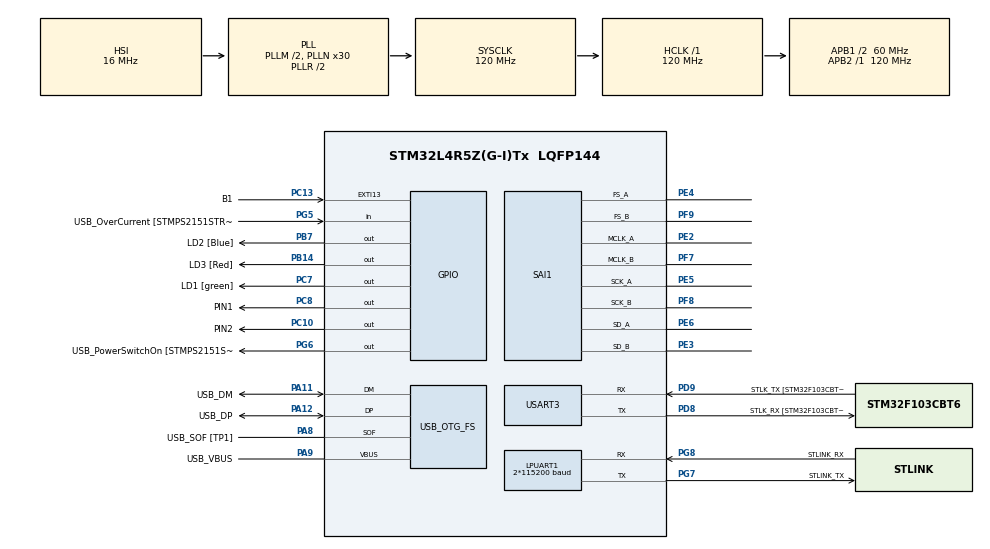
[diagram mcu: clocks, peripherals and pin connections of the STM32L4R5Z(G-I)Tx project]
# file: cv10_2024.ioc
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Dma.LPUART1_RX.0.Direction=DMA_PERIPH_TO_MEMORY
Dma.LPUART1_RX.0.EventEnable=DISABLE
Dma.LPUART1_RX.0.Instance=DMA2_Channel1
Dma.LPUART1_RX.0.MemDataAlignment=DMA_MDATAALIGN_BYTE
Dma.LPUART1_RX.0.MemInc=DMA_MINC_ENABLE
Dma.LPUART1_RX.0.Mode=DMA_NORMAL
Dma.LPUART1_RX.0.PeriphDataAlignment=DMA_PDATAALIGN_BYTE
Dma.LPUART1_RX.0.PeriphInc=DMA_PINC_DISABLE
Dma.LPUART1_RX.0.Polarity=HAL_DMAMUX_REQUEST_GEN_RISING
Dma.LPUART1_RX.0.Priority=DMA_PRIORITY_LOW
Dma.LPUART1_RX.0.RequestNumber=1
Dma.LPUART1_RX.0.SignalID=NONE
Dma.LPUART1_RX.0.SyncEnable=DISABLE
Dma.LPUART1_RX.0.SyncPolarity=HAL_DMAMUX_SYNC_NO_EVENT
Dma.LPUART1_RX.0.SyncRequestNumber=1
Dma.LPUART1_RX.0.SyncSignalID=NONE
Dma.LPUART1_TX.1.Direction=DMA_MEMORY_TO_PERIPH
Dma.LPUART1_TX.1.EventEnable=DISABLE
Dma.LPUART1_TX.1.Instance=DMA2_Channel2
Dma.LPUART1_TX.1.MemDataAlignment=DMA_MDATAALIGN_BYTE
Dma.LPUART1_TX.1.MemInc=DMA_MINC_ENABLE
Dma.LPUART1_TX.1.Mode=DMA_NORMAL
Dma.LPUART1_TX.1.PeriphDataAlignment=DMA_PDATAALIGN_BYTE
Dma.LPUART1_TX.1.PeriphInc=DMA_PINC_DISABLE
Dma.LPUART1_TX.1.Polarity=HAL_DMAMUX_REQUEST_GEN_RISING
Dma.LPUART1_TX.1.Priority=DMA_PRIORITY_LOW
Dma.LPUART1_TX.1.RequestNumber=1
Dma.LPUART1_TX.1.SignalID=NONE
Dma.LPUART1_TX.1.SyncEnable=DISABLE
Dma.LPUART1_TX.1.SyncPolarity=HAL_DMAMUX_SYNC_NO_EVENT
Dma.LPUART1_TX.1.SyncRequestNumber=1
Dma.LPUART1_TX.1.SyncSignalID=NONE
Dma.MEMTOMEM.2.Direction=DMA_MEMORY_TO_MEMORY
Dma.MEMTOMEM.2.EventEnable=DISABLE
Dma.MEMTOMEM.2.Instance=DMA1_Channel1
Dma.MEMTOMEM.2.MemDataAlignment=DMA_MDATAALIGN_WORD
Dma.MEMTOMEM.2.MemInc=DMA_MINC_ENABLE
Dma.MEMTOMEM.2.Mode=DMA_NORMAL
Dma.MEMTOMEM.2.PeriphDataAlignment=DMA_PDATAALIGN_WORD
Dma.MEMTOMEM.2.PeriphInc=DMA_PINC_ENABLE
Dma.MEMTOMEM.2.Polarity=HAL_DMAMUX_REQUEST_GEN_RISING
Dma.MEMTOMEM.2.Priority=DMA_PRIORITY_LOW
Dma.MEMTOMEM.2.RequestNumber=1
Dma.MEMTOMEM.2.SignalID=NONE
Dma.MEMTOMEM.2.SyncEnable=DISABLE
Dma.MEMTOMEM.2.SyncPolarity=HAL_DMAMUX_SYNC_NO_EVENT
Dma.MEMTOMEM.2.SyncRequestNumber=1
Dma.MEMTOMEM.2.SyncSignalID=NONE
Dma.Request0=LPUART1_RX
Dma.Request1=LPUART1_TX
Dma.Request2=MEMTOMEM
Dma.Request3=SAI1_A
Dma.Request4=SAI1_B
Dma.SAI1_A.3.Direction=DMA_MEMORY_TO_PERIPH
Dma.SAI1_A.3.EventEnable=DISABLE
Dma.SAI1_A.3.Instance=DMA1_Channel3
Dma.SAI1_A.3.MemDataAlignment=DMA_MDATAALIGN_WORD
Dma.SAI1_A.3.MemInc=DMA_MINC_ENABLE
Dma.SAI1_A.3.Mode=DMA_CIRCULAR
Dma.SAI1_A.3.PeriphDataAlignment=DMA_PDATAALIGN_WORD
Dma.SAI1_A.3.PeriphInc=DMA_PINC_DISABLE
Dma.SAI1_A.3.Polarity=HAL_DMAMUX_REQUEST_GEN_RISING
Dma.SAI1_A.3.Priority=DMA_PRIORITY_HIGH
Dma.SAI1_A.3.RequestNumber=1
Dma.SAI1_A.3.SignalID=NONE
Dma.SAI1_A.3.SyncEnable=DISABLE
Dma.SAI1_A.3.SyncPolarity=HAL_DMAMUX_SYNC_NO_EVENT
Dma.SAI1_A.3.SyncRequestNumber=1
Dma.SAI1_A.3.SyncSignalID=NONE
Dma.SAI1_B.4.Direction=DMA_PERIPH_TO_MEMORY
Dma.SAI1_B.4.EventEnable=DISABLE
Dma.SAI1_B.4.Instance=DMA1_Channel4
Dma.SAI1_B.4.MemDataAlignment=DMA_MDATAALIGN_WORD
Dma.SAI1_B.4.MemInc=DMA_MINC_ENABLE
Dma.SAI1_B.4.Mode=DMA_CIRCULAR
Dma.SAI1_B.4.PeriphDataAlignment=DMA_PDATAALIGN_WORD
Dma.SAI1_B.4.PeriphInc=DMA_PINC_DISABLE
Dma.SAI1_B.4.Polarity=HAL_DMAMUX_REQUEST_GEN_RISING
Dma.SAI1_B.4.Priority=DMA_PRIORITY_HIGH
Dma.SAI1_B.4.RequestNumber=1
Dma.SAI1_B.4.SignalID=NONE
Dma.SAI1_B.4.SyncEnable=DISABLE
Dma.SAI1_B.4.SyncPolarity=HAL_DMAMUX_SYNC_NO_EVENT
Dma.SAI1_B.4.SyncRequestNumber=1
Dma.SAI1_B.4.SyncSignalID=NONE
LPUART1.BaudRate=2*115200
LPUART1.WordLength=UART_WORDLENGTH_8B
Mcu.Family=STM32L4
Mcu.Name=STM32L4R5Z(G-I)Tx
Mcu.Package=LQFP144
NVIC.DMA1_Channel1_IRQn=true\:0\:0\:false\:false\:true\:false\:true\:true
NVIC.DMA1_Channel3_IRQn=true\:0\:0\:false\:false\:true\:false\:true\:true
NVIC.DMA1_Channel4_IRQn=true\:0\:0\:false\:false\:true\:false\:true\:true
NVIC.DMA2_Channel1_IRQn=true\:0\:0\:false\:false\:true\:true\:true\:true
NVIC.DMA2_Channel2_IRQn=true\:0\:0\:false\:false\:true\:false\:true\:true
NVIC.EXTI15_10_IRQn=true\:0\:0\:false\:false\:true\:true\:true\:true
NVIC.LPUART1_IRQn=true\:0\:0\:false\:false\:true\:true\:true\:true
NVIC.PriorityGroup=NVIC_PRIORITYGROUP_4
NVIC.SAI1_IRQn=true\:0\:0\:false\:false\:true\:true\:true\:true
NVIC.TIM6_DAC_IRQn=true\:0\:0\:false\:false\:true\:true\:true\:true
PA10.GPIO_Label=USB_ID
PA10.Signal=USB_OTG_FS_ID
PA11.GPIO_Label=USB_DM
PA11.Mode=Device_Only
PA11.Signal=USB_OTG_FS_DM
PA12.GPIO_Label=USB_DP
PA12.Mode=Device_Only
PA12.Signal=USB_OTG_FS_DP
PA13\ (JTMS/SWDIO).GPIO_Label=TMS
PA13\ (JTMS/SWDIO).Mode=Trace_Asynchronous_SW
PA13\ (JTMS/SWDIO).Signal=SYS_JTMS-SWDIO
PA14\ (JTCK/SWCLK).GPIO_Label=TCK
PA14\ (JTCK/SWCLK).Mode=Trace_Asynchronous_SW
PA14\ (JTCK/SWCLK).Signal=SYS_JTCK-SWCLK
PA8.GPIO_Label=USB_SOF [TP1]
PA8.Mode=Activate_SOF_FS
PA8.Signal=USB_OTG_FS_SOF
PA9.GPIO_Label=USB_VBUS
PA9.Mode=Activate_VBUS
PA9.Signal=USB_OTG_FS_VBUS
PB14.GPIO_Label=LD3 [Red]
PB14.Signal=GPIO_Output
PB3\ (JTDO/TRACESWO).GPIO_Label=SWO
PB3\ (JTDO/TRACESWO).Mode=Trace_Asynchronous_SW
PB3\ (JTDO/TRACESWO).Signal=SYS_JTDO-SWO
PB7.GPIO_Label=LD2 [Blue]
PB7.Signal=GPIO_Output
PC10.GPIO_Label=PIN2
PC10.Signal=GPIO_Output
PC13.GPIO_Label=B1
PC13.GPIO_ModeDefaultEXTI=GPIO_MODE_IT_RISING_FALLING
PC13.Signal=GPXTI13
PC14-OSC32_IN\ (PC14).Mode=LSE-External-Oscillator
PC14-OSC32_IN\ (PC14).Signal=RCC_OSC32_IN
PC15-OSC32_OUT\ (PC15).Mode=LSE-External-Oscillator
PC15-OSC32_OUT\ (PC15).Signal=RCC_OSC32_OUT
PC7.GPIO_Label=LD1 [green]
PC7.Signal=GPIO_Output
PC8.GPIO_Label=PIN1
PC8.Signal=GPIO_Output
PD8.GPIO_Label=STLK_RX [STM32F103CBT6_PA3]
PD8.Mode=Asynchronous
PD8.Signal=USART3_TX
PD9.GPIO_Label=STLK_TX [STM32F103CBT6_PA2]
PD9.Mode=Asynchronous
PD9.Signal=USART3_RX
PE2.Mode=SAI_A_MasterWithClock
PE2.Signal=SAI1_MCLK_A
PE3.Mode=SAI_B_MasterWithClock
PE3.Signal=SAI1_SD_B
PE4.Mode=SAI_A_MasterWithClock
PE4.Signal=SAI1_FS_A
PE5.Mode=SAI_A_MasterWithClock
PE5.Signal=SAI1_SCK_A
PE6.Mode=SAI_A_MasterWithClock
PE6.Signal=SAI1_SD_A
PF7.Mode=SAI_B_MasterWithClock
PF7.Signal=SAI1_MCLK_B
PF8.Mode=SAI_B_MasterWithClock
PF8.Signal=SAI1_SCK_B
PF9.Mode=SAI_B_MasterWithClock
PF9.Signal=SAI1_FS_B
PG5.GPIO_Label=USB_OverCurrent [STMPS2151STR_FAULT]
PG5.Signal=GPIO_Input
PG6.GPIO_Label=USB_PowerSwitchOn [STMPS2151STR_EN]
PG6.Signal=GPIO_Output
PG7.GPIO_Label=STLINK_TX
PG7.Mode=Asynchronous
PG7.Signal=LPUART1_TX
PG8.GPIO_Label=STLINK_RX
PG8.Mode=Asynchronous
PG8.Signal=LPUART1_RX
PH0-OSC_IN\ (PH0).Signal=RCC_OSC_IN
PH1-OSC_OUT\ (PH1).Signal=RCC_OSC_OUT
ProjectManager.HeapSize=0x200
ProjectManager.StackSize=0x400
ProjectManager.TargetToolchain=STM32CubeIDE
RCC.48MHZClocksFreq_Value=24000000
RCC.ADCFreq_Value=153600000
RCC.AHBFreq_Value=120000000
RCC.APB1CLKDivider=RCC_HCLK_DIV2
RCC.APB1Freq_Value=60000000
RCC.APB1TimFreq_Value=120000000
RCC.APB2Freq_Value=120000000
RCC.APB2TimFreq_Value=120000000
RCC.CK48CLockSelection=RCC_USBCLKSOURCE_HSI48
RCC.CortexFreq_Value=120000000
RCC.HCLKFreq_Value=120000000
RCC.HSE_VALUE=8000000
RCC.HSI48_VALUE=48000000
RCC.HSI_VALUE=16000000
RCC.MSI_VALUE=4000000
RCC.PLLM1=2
RCC.PLLM2=5
RCC.PLLMUL=RCC_PLL_MUL9
RCC.PLLN=30
RCC.PLLSAI1N=96
RCC.PLLSAI1P=RCC_PLLP_DIV25
RCC.PLLSourceVirtual=RCC_PLLSOURCE_HSI
RCC.PRESCALERUSB=RCC_USBCLKSOURCE_PLL_DIV1_5
RCC.SYSCLKFreq_VALUE=120000000
RCC.SYSCLKSource=RCC_SYSCLKSOURCE_PLLCLK
RCC.SYSCLKSourceVirtual=RCC_SYSCLKSOURCE_PLLCLK
RCC.USBFreq_Value=48000000
RCC.VCOOutputFreq_Value=240000000
SAI1.AudioFrequency-SAI_A_MasterWithClock=SAI_AUDIO_FREQUENCY_48K
SAI1.AudioFrequency-SAI_B_MasterWithClock=SAI_AUDIO_FREQUENCY_48K
SAI1.AudioMode-SAI_B_MasterWithClock=SAI_MODEMASTER_RX
SAI1.BasicDataSize-SAI_A_MasterWithClock=SAI_PROTOCOL_DATASIZE_24BIT
SAI1.BasicDataSize-SAI_B_MasterWithClock=SAI_PROTOCOL_DATASIZE_24BIT
SAI1.ErrorAudioFreq-SAI_A_MasterWithClock=0.0 %
SAI1.ErrorAudioFreq-SAI_B_MasterWithClock=0.0 %
SAI1.InitProtocol-SAI_A_MasterWithClock=Enable
SAI1.InitProtocol-SAI_B_MasterWithClock=Enable
SAI1.Instance-SAI_A_MasterWithClock=SAI$Index_Block_A
SAI1.Instance-SAI_B_MasterWithClock=SAI$Index_Block_B
SAI1.MClockEnable-SAI_A_MasterWithClock=SAI_MASTERCLOCK_ENABLE
SAI1.MClockEnable-SAI_B_MasterWithClock=SAI_MASTERCLOCK_ENABLE
SAI1.RealAudioFreq-SAI_A_MasterWithClock=48.0 KHz
SAI1.RealAudioFreq-SAI_B_MasterWithClock=48.0 KHz
SAI1.VirtualMode-SAI_A_MasterWithClock=VM_MASTER
SAI1.VirtualMode-SAI_B_MasterWithClock=VM_MASTER
SAI1.VirtualProtocol-SAI_A_BASIC=VM_BASIC_PROTOCOL
SAI1.VirtualProtocol-SAI_B_BASIC=VM_BASIC_PROTOCOL
STMicroelectronics.X-CUBE-ALGOBUILD.1.4.0.LibraryCcDSPOoLibraryJjDSPOoLibrary=true
TIM6.Period=12000
TIM6.Prescaler=1000
USART3.VirtualMode-Asynchronous=VM_ASYNC
USB_OTG_FS.VirtualMode=Device_Only
VP_SAI1_VP_$IpInstance_SAIA_SAI_BASIC.Mode=SAI_A_BASIC
VP_SAI1_VP_$IpInstance_SAIB_SAI_BASIC.Mode=SAI_B_BASIC
VP_STMicroelectronics.X-CUBE-ALGOBUILD_VS_DSPOoLibraryJjLibrary_1.4.0_1.4.0.Mode=DSPOoLibraryJjLibrary
VP_TIM5_VS_ClockSourceINT.Mode=Internal
VP_TIM6_VS_ClockSourceINT.Mode=Enable_Timer
board=NUCLEO-L4R5ZI

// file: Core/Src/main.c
/* USER CODE BEGIN Header */
/**
  ******************************************************************************
  * @file           : main.c
  * @brief          : Main program body
  ******************************************************************************
  * @attention
  *
  * Copyright (c) 2024 STMicroelectronics.
  * All rights reserved.
  *
  * This software is licensed under terms that can be found in the LICENSE file
  * in the root directory of this software component.
  * If no LICENSE file comes with this software, it is provided AS-IS.
  *
  ******************************************************************************
  */
/* USER CODE END Header */
#include "main.h"

/* USER CODE BEGIN Includes */
#include "math.h"
#include "arm_math.h"

#include <string.h>
#include "TimeStamp.h"
/* USER CODE END Includes */

UART_HandleTypeDef hlpuart1;
UART_HandleTypeDef huart3;
DMA_HandleTypeDef hdma_lpuart1_rx;
DMA_HandleTypeDef hdma_lpuart1_tx;

SAI_HandleTypeDef hsai_BlockA1;
SAI_HandleTypeDef hsai_BlockB1;
DMA_HandleTypeDef hdma_sai1_a;
DMA_HandleTypeDef hdma_sai1_b;

TIM_HandleTypeDef htim5;
TIM_HandleTypeDef htim6;

PCD_HandleTypeDef hpcd_USB_OTG_FS;

DMA_HandleTypeDef hdma_memtomem_dma1_channel1;
/* USER CODE BEGIN PV */
#define BLOCK_SIZE_MAX1 4800
/* USER CODE END PV */

void SystemClock_Config(void);
void PeriphCommonClock_Config(void);
static void MX_GPIO_Init(void);
static void MX_DMA_Init(void);
static void MX_LPUART1_UART_Init(void);
static void MX_USART3_UART_Init(void);
static void MX_USB_OTG_FS_PCD_Init(void);
static void MX_TIM6_Init(void);
static void MX_TIM5_Init(void);
static void MX_SAI1_Init(void);
/* USER CODE BEGIN PFP */
#include "DSP_SAI_config.h"
#include "MATLAB_2_STM32.h"

/* USER CODE END PFP */

/* USER CODE BEGIN 0 */
static float x3[1000];

void DataReceive_MTLB_Callback(uint16_t iD, uint32_t * xData, uint16_t nData_in_values)
{//kdyz prijdou data z matlabu, tak se toto zavola a zde je vetveni a zpracovani
	uint32_t x_time;
	switch(iD)
	{
	case 40001://get temperature
//		DataTransmit2MTLB(40001,(uint8_t *) &teplota[nTeplota], 1);
		break;
	case 40002:
	//	DataTransmit2MTLB(40002,(uint8_t *) teplota, 61);
		break;
	case 35000:

		TimeStamp_SET_char('X');

		for(int i=0; i<1000; i++)
		{
			x3[i]=arm_sin_f32(2*PI*1000*i/48000);//1544us (mikro sekund) - off SAI; 5200us on SAI

			//x3[i]=sin(2*PI*1000*i/48000);// 29933 us - vypnuty SAI
		}
		TimeStamp_SET_char('Y');

		x_time = FindTimeStamp('Y') - FindTimeStamp('X');

		DataTransmit2MTLB(35000, (uint8_t *)x3, 1000);

		//
		uint32_t timeout = 10000;
				while(s2m_Status && timeout > 0)
				{
		            timeout--;
				}

		        if(timeout > 0) {
				    DataTransmit2MTLB(15000,(uint8_t *) &x_time, 1);
		        }
		break;
	case 35008: //FIR Init
		HAL_SAI_DMAStop(&hsai_BlockA1);
		HAL_SAI_DMAStop(&hsai_BlockB1);
		Status_Proces_Type_L=0;
//
		memcpy(B1, xData, nData_in_values*4);
		arm_fir_init_f32(&S_L_FIR, nData_in_values,B1, pState_FIR_L, BlockSize);
//
		TimeStamp_SET_char('X');
		arm_fir_f32(&S_L_FIR, sample_L, sample_L1, BlockSize);
		TimeStamp_SET_char('Y');
//
		x_time = FindTimeStamp('Y') - FindTimeStamp('X');
		DataTransmit2MTLB(15000,(uint8_t *) &x_time, 1);
//
		HAL_SAI_Transmit_DMA(&hsai_BlockA1,(uint8_t *) buf_SAI_TX, 4*BlockSize);//Size is n samples (Data wdth is word (4 bytes - 32 bits))
		HAL_SAI_Receive_DMA(&hsai_BlockB1,(uint8_t *) buf_SAI_RX, 4*BlockSize); //this is master - start first
		break;
	case 35009: //IIR init
		HAL_SAI_DMAStop(&hsai_BlockA1);
		HAL_SAI_DMAStop(&hsai_BlockB1);
		Status_Proces_Type_L=1;
		//
				//arm_fir_init_f32(&S_L_FIR, nData_in_values,(float32_t *) xData, pState_FIR_L, BlockSize);
		//
				memcpy(IIR_coef_L, xData, nData_in_values * 4);
				arm_biquad_cascade_df1_init_f32(&S_L_IIR, nData_in_values/5, (float32_t *) xData, pState_IIR_L );

				TimeStamp_SET_char('X');
				//arm_fir_f32(&S_L_FIR, sample_L, sample_L1, BlockSize);
				arm_biquad_cascade_df1_f32(&S_L_IIR, sample_L, sample_L1, BlockSize);
				TimeStamp_SET_char('Y');
		//
				x_time = FindTimeStamp('Y') - FindTimeStamp('X');
				DataTransmit2MTLB(10001,(uint8_t *) &x_time, 1);
		//
				HAL_SAI_Transmit_DMA(&hsai_BlockA1,(uint8_t *) buf_SAI_TX, 4*BlockSize);//Size is n samples (Data wdth is word (4 bytes - 32 bits))
				HAL_SAI_Receive_DMA(&hsai_BlockB1,(uint8_t *) buf_SAI_RX, 4*BlockSize); //this is master - start first
		break;
	case 20000:
		if( xData[0] == 12345)
		{
			xData[0]++;
			DataTransmit2MTLB(20001,(uint8_t *)xData, 1);

		}
	default:
	}
}

uint32_t nALive, x_nALive;
uint32_t x, x1;
float Fs, f1, A1;
void HAL_TIM_PeriodElapsedCallback(TIM_HandleTypeDef *htim)
{
  if(htim == &htim6)
  {
	  /*
	  x1++;
	  if(x1>=x)
	  {
		  HAL_GPIO_TogglePin(LD1_GPIO_Port, LD1_Pin);
		  x1=0;
	  }
	   */
	  x_nALive++;
	  if(x_nALive > 9)
	  {
		  HAL_GPIO_TogglePin(LD1_GPIO_Port, LD1_Pin);
		  x_nALive=0;
		  nALive++;
		  if(!m2s_Status)
			  DataTransmit2MTLB(1010, (uint8_t *) &nALive, 1);
	  }
  }
}

void HAL_GPIO_EXTI_Callback(uint16_t GPIO_Pin)
{
  if(GPIO_Pin==B1_Pin)
  {
	  if(HAL_GPIO_ReadPin(B1_GPIO_Port, B1_Pin))
	  {
		  x=1;
	  	  TimeStamp_SET_char('G');
	  }
	  else
	  {
		  x=5;
		  TimeStamp_SET_char('H');
		  uint32_t butt_transfer_time = FindTimeStamp('H') - FindTimeStamp('G');
		  DataTransmit2MTLB(10002, (uint8_t *) &butt_transfer_time, 1);
	  }
	  HAL_GPIO_WritePin(PIN1_GPIO_Port, PIN1_Pin, HAL_GPIO_ReadPin(B1_GPIO_Port, B1_Pin));
  }

}

uint32_t butt_transfer_time1;
uint32_t butt_transfer_time;

void XferCpltCallback(DMA_HandleTypeDef *hdma)
{
    //__NOP(); //Line reached only if transfer was successful. Toggle a breakpoint here
    TimeStamp_SET_F();
    TimeStamp_SET_F();

    butt_transfer_time1++;
    butt_transfer_time++;

}

void ProcessSamples()
{
	Status_Process_DSP_Complete=0;
	//left samples
	for (int i =0; i < BlockSize; i++)
		//sample_L1[i]=1000000.0f * arm_sin_f32(2.0f*M_PI*i*480.0f/48000);
		sample_L1[i]=sample_L[i];

	//arm_fir_f32(&S_L_FIR, sample_L, sample_L1, BlockSize);
	for (int i =0; i < BlockSize; i++)
		sample_R1[i] = 1000000.0f * arm_sin_f32(2.0f*M_PI*i*480.0f/48000);
	//right samples
	//arm_fir_f32(&S_R_FIR, sample_R, sample_R1, BlockSize);

/*	if(Status_Proces_Type_L==0)
		arm_fir_f32(&S_L_FIR, sample_L, sample_L1, BlockSize);
	else
		if(Status_Proces_Type_L==1)
			arm_biquad_cascade_df1_f32(&S_L_IIR, sample_L, sample_L1, BlockSize);
		else
		{

		}*/

	//arm_fir_f32(&S_R_FIR, sample_L, sample_R1, BlockSize);

	//sin wave
	//static uint32_t n=0; for(int i = 0 ; i<BlockSize; i++)	{		sample_L1[i] = A1* arm_sin_f32(2*PI*f1*n/Fs); n++;	}

	Status_Process_DSP_Complete=1;
}

/* USER CODE END 0 */

int main(void)
{

  /* USER CODE BEGIN 1 */
	x=5; x1=0;
	Fs=48000;	  f1=1000;	  A1= 4194304/4; //2^22;
  /* USER CODE END 1 */

  /* MCU Configuration--------------------------------------------------------*/

  /* Reset of all peripherals, Initializes the Flash interface and the Systick. */
  HAL_Init();

  /* Configure the system clock */
  SystemClock_Config();

  /* Configure the peripherals common clocks */
  PeriphCommonClock_Config();

  /* Initialize all configured peripherals */
  MX_GPIO_Init();
  MX_DMA_Init();
  MX_LPUART1_UART_Init();
  MX_USART3_UART_Init();
  MX_USB_OTG_FS_PCD_Init();
  MX_TIM6_Init();
  MX_TIM5_Init();
  MX_SAI1_Init();
  /* USER CODE BEGIN 2 */

  HAL_TIM_Base_Start_IT(&htim6);
  TimeStamp_INIT(&htim5); //HAL_TIM_Base_Start_IT(&htim5);// for time measure GetTime()
  m2s_Init(&hlpuart1);

  // vlastni pokus
//  //DMA mem copy experiment
//  int i;
//  for(i=0; i<BLOCK_SIZE_MAX; i++)
//      sample_L1[i]= i*i/159;
//  TimeStamp_SET_A();
//  for(i=0; i<BLOCK_SIZE_MAX; i++)
//      sample_L2[i]= sample_L1[i];
//  TimeStamp_SET_B();// 182570 ticks
//  HAL_DMA_RegisterCallback(&hdma_memtomem_dma2_channel1, HAL_DMA_XFER_CPLT_CB_ID, &XferCpltCallback);
//  TimeStamp_SET_C();// 29932 ticks
//  HAL_DMA_Start_IT(&hdma_memtomem_dma2_channel1, (uint32_t) sample_L1, (uint32_t) sample_R2, BLOCK_SIZE_MAX);
//  TimeStamp_SET_D();// 440

  //sin experiment
//  float x, y, y1; UNUSED(y);UNUSED(y1);
//  x=1.0;
//  TimeStamp_SET_A();
//  y=sin(x);   // 0.841470957
//  TimeStamp_SET_B();//MATLAB: 0.841470984807897
//  //uint32_t
//  butt_transfer_time = FindTimeStamp('B') - FindTimeStamp('A'); UNUSED(butt_transfer_time);
//
//  Fs=48000;
//  f1=1000;
//  A1= 4194304/4; //2^22;
//
//  TimeStamp_SET_C();
//  y1=arm_sin_f32(x); //0.841455162
//  TimeStamp_SET_D();
//  //uint32_t
//  butt_transfer_time1 = FindTimeStamp('D') - FindTimeStamp('C'); UNUSED(butt_transfer_time1);

  DSP_SAI_Init(1000);
  /* USER CODE END 2 */

  /* Infinite loop */
  while (1)
  {

    /* USER CODE BEGIN 3 */
	  m2s_Process();
  }
  /* USER CODE END 3 */
}

void SystemClock_Config(void)
{
  RCC_OscInitTypeDef RCC_OscInitStruct = {0};
  RCC_ClkInitTypeDef RCC_ClkInitStruct = {0};

  /** Configure the main internal regulator output voltage
  */
  if (HAL_PWREx_ControlVoltageScaling(PWR_REGULATOR_VOLTAGE_SCALE1_BOOST) != HAL_OK)
  {
    Error_Handler();
  }

  /** Initializes the RCC Oscillators according to the specified parameters
  * in the RCC_OscInitTypeDef structure.
  */
  RCC_OscInitStruct.OscillatorType = RCC_OSCILLATORTYPE_HSI48|RCC_OSCILLATORTYPE_HSI;
  RCC_OscInitStruct.HSIState = RCC_HSI_ON;
  RCC_OscInitStruct.HSI48State = RCC_HSI48_ON;
  RCC_OscInitStruct.HSICalibrationValue = RCC_HSICALIBRATION_DEFAULT;
  RCC_OscInitStruct.PLL.PLLState = RCC_PLL_ON;
  RCC_OscInitStruct.PLL.PLLSource = RCC_PLLSOURCE_HSI;
  RCC_OscInitStruct.PLL.PLLM = 2;
  RCC_OscInitStruct.PLL.PLLN = 30;
  RCC_OscInitStruct.PLL.PLLP = RCC_PLLP_DIV2;
  RCC_OscInitStruct.PLL.PLLQ = RCC_PLLQ_DIV2;
  RCC_OscInitStruct.PLL.PLLR = RCC_PLLR_DIV2;
  if (HAL_RCC_OscConfig(&RCC_OscInitStruct) != HAL_OK)
  {
    Error_Handler();
  }

  /** Initializes the CPU, AHB and APB buses clocks
  */
  RCC_ClkInitStruct.ClockType = RCC_CLOCKTYPE_HCLK|RCC_CLOCKTYPE_SYSCLK
                              |RCC_CLOCKTYPE_PCLK1|RCC_CLOCKTYPE_PCLK2;
  RCC_ClkInitStruct.SYSCLKSource = RCC_SYSCLKSOURCE_PLLCLK;
  RCC_ClkInitStruct.AHBCLKDivider = RCC_SYSCLK_DIV1;
  RCC_ClkInitStruct.APB1CLKDivider = RCC_HCLK_DIV2;
  RCC_ClkInitStruct.APB2CLKDivider = RCC_HCLK_DIV1;

  if (HAL_RCC_ClockConfig(&RCC_ClkInitStruct, FLASH_LATENCY_5) != HAL_OK)
  {
    Error_Handler();
  }
}

void PeriphCommonClock_Config(void)
{
  RCC_PeriphCLKInitTypeDef PeriphClkInit = {0};

  /** Initializes the peripherals clock
  */
  PeriphClkInit.PeriphClockSelection = RCC_PERIPHCLK_SAI1;
  PeriphClkInit.Sai1ClockSelection = RCC_SAI1CLKSOURCE_PLLSAI1;
  PeriphClkInit.PLLSAI1.PLLSAI1Source = RCC_PLLSOURCE_HSI;
  PeriphClkInit.PLLSAI1.PLLSAI1M = 5;
  PeriphClkInit.PLLSAI1.PLLSAI1N = 96;
  PeriphClkInit.PLLSAI1.PLLSAI1P = RCC_PLLP_DIV25;
  PeriphClkInit.PLLSAI1.PLLSAI1Q = RCC_PLLQ_DIV2;
  PeriphClkInit.PLLSAI1.PLLSAI1R = RCC_PLLR_DIV2;
  PeriphClkInit.PLLSAI1.PLLSAI1ClockOut = RCC_PLLSAI1_SAI1CLK;
  if (HAL_RCCEx_PeriphCLKConfig(&PeriphClkInit) != HAL_OK)
  {
    Error_Handler();
  }
}

static void MX_LPUART1_UART_Init(void)
{

  hlpuart1.Instance = LPUART1;
  hlpuart1.Init.BaudRate = 2*115200;
  hlpuart1.Init.WordLength = UART_WORDLENGTH_8B;
  hlpuart1.Init.StopBits = UART_STOPBITS_1;
  hlpuart1.Init.Parity = UART_PARITY_NONE;
  hlpuart1.Init.Mode = UART_MODE_TX_RX;
  hlpuart1.Init.HwFlowCtl = UART_HWCONTROL_NONE;
  hlpuart1.Init.OneBitSampling = UART_ONE_BIT_SAMPLE_DISABLE;
  hlpuart1.Init.ClockPrescaler = UART_PRESCALER_DIV1;
  hlpuart1.AdvancedInit.AdvFeatureInit = UART_ADVFEATURE_NO_INIT;
  hlpuart1.FifoMode = UART_FIFOMODE_DISABLE;
  if (HAL_UART_Init(&hlpuart1) != HAL_OK)
  {
    Error_Handler();
  }
  if (HAL_UARTEx_SetTxFifoThreshold(&hlpuart1, UART_TXFIFO_THRESHOLD_1_8) != HAL_OK)
  {
    Error_Handler();
  }
  if (HAL_UARTEx_SetRxFifoThreshold(&hlpuart1, UART_RXFIFO_THRESHOLD_1_8) != HAL_OK)
  {
    Error_Handler();
  }
  if (HAL_UARTEx_DisableFifoMode(&hlpuart1) != HAL_OK)
  {
    Error_Handler();
  }

}

static void MX_USART3_UART_Init(void)
{

  huart3.Instance = USART3;
  huart3.Init.BaudRate = 115200;
  huart3.Init.WordLength = UART_WORDLENGTH_8B;
  huart3.Init.StopBits = UART_STOPBITS_1;
  huart3.Init.Parity = UART_PARITY_NONE;
  huart3.Init.Mode = UART_MODE_TX_RX;
  huart3.Init.HwFlowCtl = UART_HWCONTROL_NONE;
  huart3.Init.OverSampling = UART_OVERSAMPLING_16;
  huart3.Init.OneBitSampling = UART_ONE_BIT_SAMPLE_DISABLE;
  huart3.Init.ClockPrescaler = UART_PRESCALER_DIV1;
  huart3.AdvancedInit.AdvFeatureInit = UART_ADVFEATURE_NO_INIT;
  if (HAL_UART_Init(&huart3) != HAL_OK)
  {
    Error_Handler();
  }
  if (HAL_UARTEx_SetTxFifoThreshold(&huart3, UART_TXFIFO_THRESHOLD_1_8) != HAL_OK)
  {
    Error_Handler();
  }
  if (HAL_UARTEx_SetRxFifoThreshold(&huart3, UART_RXFIFO_THRESHOLD_1_8) != HAL_OK)
  {
    Error_Handler();
  }
  if (HAL_UARTEx_DisableFifoMode(&huart3) != HAL_OK)
  {
    Error_Handler();
  }

}

static void MX_SAI1_Init(void)
{

  hsai_BlockA1.Instance = SAI1_Block_A;
  hsai_BlockA1.Init.AudioMode = SAI_MODEMASTER_TX;
  hsai_BlockA1.Init.Synchro = SAI_ASYNCHRONOUS;
  hsai_BlockA1.Init.OutputDrive = SAI_OUTPUTDRIVE_DISABLE;
  hsai_BlockA1.Init.NoDivider = SAI_MASTERDIVIDER_ENABLE;
  hsai_BlockA1.Init.FIFOThreshold = SAI_FIFOTHRESHOLD_EMPTY;
  hsai_BlockA1.Init.AudioFrequency = SAI_AUDIO_FREQUENCY_48K;
  hsai_BlockA1.Init.SynchroExt = SAI_SYNCEXT_DISABLE;
  hsai_BlockA1.Init.MonoStereoMode = SAI_STEREOMODE;
  hsai_BlockA1.Init.CompandingMode = SAI_NOCOMPANDING;
  hsai_BlockA1.Init.TriState = SAI_OUTPUT_NOTRELEASED;
  if (HAL_SAI_InitProtocol(&hsai_BlockA1, SAI_I2S_STANDARD, SAI_PROTOCOL_DATASIZE_24BIT, 2) != HAL_OK)
  {
    Error_Handler();
  }
  hsai_BlockB1.Instance = SAI1_Block_B;
  hsai_BlockB1.Init.AudioMode = SAI_MODEMASTER_RX;
  hsai_BlockB1.Init.Synchro = SAI_ASYNCHRONOUS;
  hsai_BlockB1.Init.OutputDrive = SAI_OUTPUTDRIVE_DISABLE;
  hsai_BlockB1.Init.NoDivider = SAI_MASTERDIVIDER_ENABLE;
  hsai_BlockB1.Init.FIFOThreshold = SAI_FIFOTHRESHOLD_EMPTY;
  hsai_BlockB1.Init.AudioFrequency = SAI_AUDIO_FREQUENCY_48K;
  hsai_BlockB1.Init.SynchroExt = SAI_SYNCEXT_DISABLE;
  hsai_BlockB1.Init.MonoStereoMode = SAI_STEREOMODE;
  hsai_BlockB1.Init.CompandingMode = SAI_NOCOMPANDING;
  if (HAL_SAI_InitProtocol(&hsai_BlockB1, SAI_I2S_STANDARD, SAI_PROTOCOL_DATASIZE_24BIT, 2) != HAL_OK)
  {
    Error_Handler();
  }

}

static void MX_TIM5_Init(void)
{

  TIM_ClockConfigTypeDef sClockSourceConfig = {0};
  TIM_MasterConfigTypeDef sMasterConfig = {0};

  htim5.Instance = TIM5;
  htim5.Init.Prescaler = 0;
  htim5.Init.CounterMode = TIM_COUNTERMODE_UP;
  htim5.Init.Period = 4294967295;
  htim5.Init.ClockDivision = TIM_CLOCKDIVISION_DIV1;
  htim5.Init.AutoReloadPreload = TIM_AUTORELOAD_PRELOAD_DISABLE;
  if (HAL_TIM_Base_Init(&htim5) != HAL_OK)
  {
    Error_Handler();
  }
  sClockSourceConfig.ClockSource = TIM_CLOCKSOURCE_INTERNAL;
  if (HAL_TIM_ConfigClockSource(&htim5, &sClockSourceConfig) != HAL_OK)
  {
    Error_Handler();
  }
  sMasterConfig.MasterOutputTrigger = TIM_TRGO_RESET;
  sMasterConfig.MasterSlaveMode = TIM_MASTERSLAVEMODE_DISABLE;
  if (HAL_TIMEx_MasterConfigSynchronization(&htim5, &sMasterConfig) != HAL_OK)
  {
    Error_Handler();
  }

}

static void MX_TIM6_Init(void)
{

  TIM_MasterConfigTypeDef sMasterConfig = {0};

  htim6.Instance = TIM6;
  htim6.Init.Prescaler = 1000;
  htim6.Init.CounterMode = TIM_COUNTERMODE_UP;
  htim6.Init.Period = 12000;
  htim6.Init.AutoReloadPreload = TIM_AUTORELOAD_PRELOAD_DISABLE;
  if (HAL_TIM_Base_Init(&htim6) != HAL_OK)
  {
    Error_Handler();
  }
  sMasterConfig.MasterOutputTrigger = TIM_TRGO_RESET;
  sMasterConfig.MasterSlaveMode = TIM_MASTERSLAVEMODE_DISABLE;
  if (HAL_TIMEx_MasterConfigSynchronization(&htim6, &sMasterConfig) != HAL_OK)
  {
    Error_Handler();
  }

}

static void MX_USB_OTG_FS_PCD_Init(void)
{

  hpcd_USB_OTG_FS.Instance = USB_OTG_FS;
  hpcd_USB_OTG_FS.Init.dev_endpoints = 6;
  hpcd_USB_OTG_FS.Init.speed = PCD_SPEED_FULL;
  hpcd_USB_OTG_FS.Init.phy_itface = PCD_PHY_EMBEDDED;
  hpcd_USB_OTG_FS.Init.Sof_enable = ENABLE;
  hpcd_USB_OTG_FS.Init.low_power_enable = DISABLE;
  hpcd_USB_OTG_FS.Init.lpm_enable = DISABLE;
  hpcd_USB_OTG_FS.Init.battery_charging_enable = ENABLE;
  hpcd_USB_OTG_FS.Init.use_dedicated_ep1 = DISABLE;
  hpcd_USB_OTG_FS.Init.vbus_sensing_enable = ENABLE;
  if (HAL_PCD_Init(&hpcd_USB_OTG_FS) != HAL_OK)
  {
    Error_Handler();
  }

}

static void MX_DMA_Init(void)
{

  /* DMA controller clock enable */
  __HAL_RCC_DMAMUX1_CLK_ENABLE();
  __HAL_RCC_DMA2_CLK_ENABLE();
  __HAL_RCC_DMA1_CLK_ENABLE();

  /* Configure DMA request hdma_memtomem_dma1_channel1 on DMA1_Channel1 */
  hdma_memtomem_dma1_channel1.Instance = DMA1_Channel1;
  hdma_memtomem_dma1_channel1.Init.Request = DMA_REQUEST_MEM2MEM;
  hdma_memtomem_dma1_channel1.Init.Direction = DMA_MEMORY_TO_MEMORY;
  hdma_memtomem_dma1_channel1.Init.PeriphInc = DMA_PINC_ENABLE;
  hdma_memtomem_dma1_channel1.Init.MemInc = DMA_MINC_ENABLE;
  hdma_memtomem_dma1_channel1.Init.PeriphDataAlignment = DMA_PDATAALIGN_WORD;
  hdma_memtomem_dma1_channel1.Init.MemDataAlignment = DMA_MDATAALIGN_WORD;
  hdma_memtomem_dma1_channel1.Init.Mode = DMA_NORMAL;
  hdma_memtomem_dma1_channel1.Init.Priority = DMA_PRIORITY_LOW;
  if (HAL_DMA_Init(&hdma_memtomem_dma1_channel1) != HAL_OK)
  {
    Error_Handler( );
  }

  /* DMA interrupt init */
  /* DMA1_Channel1_IRQn interrupt configuration */
  HAL_NVIC_SetPriority(DMA1_Channel1_IRQn, 0, 0);
  HAL_NVIC_EnableIRQ(DMA1_Channel1_IRQn);
  /* DMA1_Channel3_IRQn interrupt configuration */
  HAL_NVIC_SetPriority(DMA1_Channel3_IRQn, 0, 0);
  HAL_NVIC_EnableIRQ(DMA1_Channel3_IRQn);
  /* DMA1_Channel4_IRQn interrupt configuration */
  HAL_NVIC_SetPriority(DMA1_Channel4_IRQn, 0, 0);
  HAL_NVIC_EnableIRQ(DMA1_Channel4_IRQn);
  /* DMA2_Channel1_IRQn interrupt configuration */
  HAL_NVIC_SetPriority(DMA2_Channel1_IRQn, 0, 0);
  HAL_NVIC_EnableIRQ(DMA2_Channel1_IRQn);
  /* DMA2_Channel2_IRQn interrupt configuration */
  HAL_NVIC_SetPriority(DMA2_Channel2_IRQn, 0, 0);
  HAL_NVIC_EnableIRQ(DMA2_Channel2_IRQn);

}

static void MX_GPIO_Init(void)
{
  GPIO_InitTypeDef GPIO_InitStruct = {0};

  /* GPIO Ports Clock Enable */
  __HAL_RCC_GPIOE_CLK_ENABLE();
  __HAL_RCC_GPIOC_CLK_ENABLE();
  __HAL_RCC_GPIOF_CLK_ENABLE();
  __HAL_RCC_GPIOH_CLK_ENABLE();
  __HAL_RCC_GPIOB_CLK_ENABLE();
  __HAL_RCC_GPIOD_CLK_ENABLE();
  __HAL_RCC_GPIOG_CLK_ENABLE();
  HAL_PWREx_EnableVddIO2();
  __HAL_RCC_GPIOA_CLK_ENABLE();

  /*Configure GPIO pin Output Level */
  HAL_GPIO_WritePin(GPIOB, LD3_Pin|LD2_Pin, GPIO_PIN_RESET);

  /*Configure GPIO pin Output Level */
  HAL_GPIO_WritePin(USB_PowerSwitchOn_GPIO_Port, USB_PowerSwitchOn_Pin, GPIO_PIN_RESET);

  /*Configure GPIO pin Output Level */
  HAL_GPIO_WritePin(GPIOC, LD1_Pin|PIN1_Pin|PIN2_Pin, GPIO_PIN_RESET);

  /*Configure GPIO pin : B1_Pin */
  GPIO_InitStruct.Pin = B1_Pin;
  GPIO_InitStruct.Mode = GPIO_MODE_IT_RISING_FALLING;
  GPIO_InitStruct.Pull = GPIO_NOPULL;
  HAL_GPIO_Init(B1_GPIO_Port, &GPIO_InitStruct);

  /*Configure GPIO pins : LD3_Pin LD2_Pin */
  GPIO_InitStruct.Pin = LD3_Pin|LD2_Pin;
  GPIO_InitStruct.Mode = GPIO_MODE_OUTPUT_PP;
  GPIO_InitStruct.Pull = GPIO_NOPULL;
  GPIO_InitStruct.Speed = GPIO_SPEED_FREQ_LOW;
  HAL_GPIO_Init(GPIOB, &GPIO_InitStruct);

  /*Configure GPIO pin : USB_OverCurrent_Pin */
  GPIO_InitStruct.Pin = USB_OverCurrent_Pin;
  GPIO_InitStruct.Mode = GPIO_MODE_INPUT;
  GPIO_InitStruct.Pull = GPIO_NOPULL;
  HAL_GPIO_Init(USB_OverCurrent_GPIO_Port, &GPIO_InitStruct);

  /*Configure GPIO pin : USB_PowerSwitchOn_Pin */
  GPIO_InitStruct.Pin = USB_PowerSwitchOn_Pin;
  GPIO_InitStruct.Mode = GPIO_MODE_OUTPUT_PP;
  GPIO_InitStruct.Pull = GPIO_NOPULL;
  GPIO_InitStruct.Speed = GPIO_SPEED_FREQ_LOW;
  HAL_GPIO_Init(USB_PowerSwitchOn_GPIO_Port, &GPIO_InitStruct);

  /*Configure GPIO pins : LD1_Pin PIN1_Pin PIN2_Pin */
  GPIO_InitStruct.Pin = LD1_Pin|PIN1_Pin|PIN2_Pin;
  GPIO_InitStruct.Mode = GPIO_MODE_OUTPUT_PP;
  GPIO_InitStruct.Pull = GPIO_NOPULL;
  GPIO_InitStruct.Speed = GPIO_SPEED_FREQ_LOW;
  HAL_GPIO_Init(GPIOC, &GPIO_InitStruct);

  /* EXTI interrupt init*/
  HAL_NVIC_SetPriority(EXTI15_10_IRQn, 0, 0);
  HAL_NVIC_EnableIRQ(EXTI15_10_IRQn);

}

void Error_Handler(void)
{
  __disable_irq();
  while (1)
  {
  }
}
